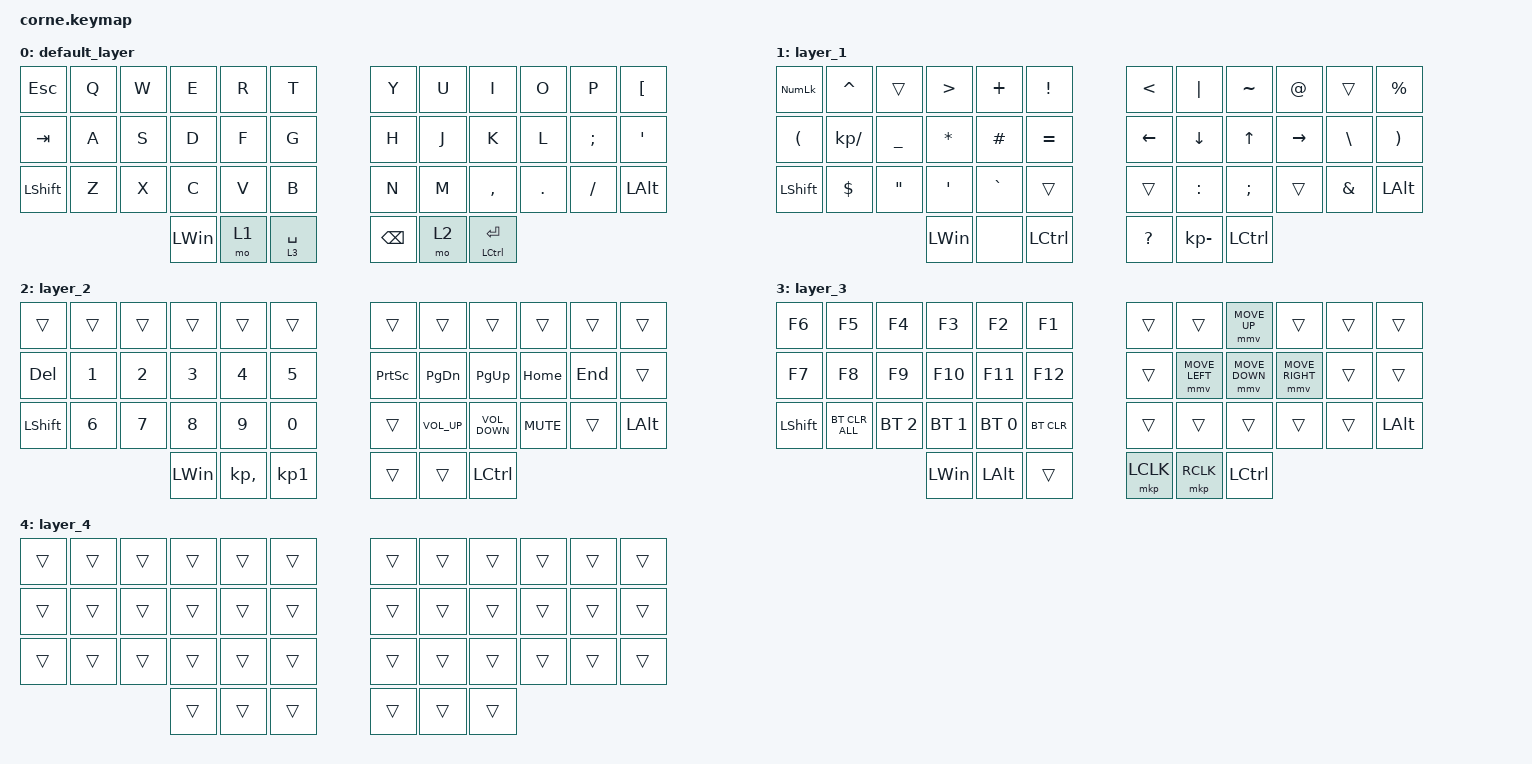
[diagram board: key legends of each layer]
/*
 * Copyright (c) 2020 The ZMK Contributors
 *
 * SPDX-License-Identifier: MIT
 */

#include <behaviors.dtsi>
#include <dt-bindings/zmk/bt.h>
#include <dt-bindings/zmk/keys.h>
#include <dt-bindings/zmk/pointing.h>

/ {
    combos {
        compatible = "zmk,combos";

        brack {
            bindings = <&kp LEFT_BRACKET>;
            key-positions = <15 16>;
        };

        bracker {
            bindings = <&kp RIGHT_BRACKET>;
            key-positions = <19 20>;
        };

        sd {
            bindings = <&kp LEFT_BRACE>;
            key-positions = <14 15>;
        };

        kl {
            bindings = <&kp RIGHT_BRACE>;
            key-positions = <20 21>;
        };
    };

    keymap {
        compatible = "zmk,keymap";

        default_layer {
            // -----------------------------------------------------------------------------------------
            // | TAB  |  Q  |  W  |  E  |  R  |    T    |   |  Y  |  U   |  I  |  O  |  P  | ESC |
            // | CTRL |  A  |  S  |  D  |  F  |    G    |   |  H  |  J   |  K  |  L  |  ;  |  LWR/'   |
            // | SHFT |  Z  |  X  |  C  |  V  |    B    |   |  N  |  M   |  ,  |  .  |  /  | SHFT |
            //                    | GUI | LWR | ALT/ENT |   | HYPER/SPC | BKSP  | RSE |

            bindings = <
&kp ESC    &kp Q  &kp W  &kp E         &kp R  &kp T          &kp Y          &kp U  &kp I            &kp O    &kp P      &kp LEFT_BRACKET
&kp TAB    &kp A  &kp S  &kp D         &kp F  &kp G          &kp H          &kp J  &kp K            &kp L    &kp SEMI   &kp SINGLE_QUOTE
&kp LSHFT  &kp Z  &kp X  &kp C         &kp V  &kp B          &kp N          &kp M  &kp COMMA        &kp DOT  &kp SLASH  &kp LEFT_ALT
                         &kp LEFT_WIN  &mo 1  &lt 3 SPACE    &kp BACKSPACE  &mo 2  &mt LCTRL ENTER
            >;
        };

        layer_1 {
            bindings = <
&kp KP_NUMLOCK        &kp CARET     &trans             &kp GREATER_THAN  &kp PLUS   &kp EXCLAMATION    &kp LESS_THAN   &kp PIPE        &kp TILDE      &kp AT           &trans         &kp PERCENT
&kp LEFT_PARENTHESIS  &kp KP_SLASH  &kp UNDERSCORE     &kp ASTERISK      &kp HASH   &kp EQUAL          &kp LEFT_ARROW  &kp DOWN_ARROW  &kp UP_ARROW   &kp RIGHT_ARROW  &kp BACKSLASH  &kp RIGHT_PARENTHESIS
&kp LEFT_SHIFT        &kp DOLLAR    &kp DOUBLE_QUOTES  &kp APOSTROPHE    &kp GRAVE  &trans             &trans          &kp COLON       &kp SEMICOLON  &trans           &kp AMPERSAND  &kp LEFT_ALT
                                                       &kp LEFT_WIN      &none      &kp LCTRL          &kp QUESTION    &kp KP_MINUS    &kp LCTRL
            >;
        };

        layer_2 {
            bindings = <
&trans          &trans        &trans        &trans        &trans        &trans          &trans           &trans           &trans             &trans      &trans   &trans
&kp DELETE      &kp NUMBER_1  &kp NUMBER_2  &kp NUMBER_3  &kp NUMBER_4  &kp NUMBER_5    &kp PRINTSCREEN  &kp PAGE_DOWN    &kp PAGE_UP        &kp HOME    &kp END  &trans
&kp LEFT_SHIFT  &kp NUMBER_6  &kp NUMBER_7  &kp NUMBER_8  &kp NUMBER_9  &kp NUMBER_0    &trans           &kp C_VOLUME_UP  &kp C_VOLUME_DOWN  &kp K_MUTE  &trans   &kp LEFT_ALT
                                            &kp LEFT_WIN  &kp KP_COMMA  &kp KP_N1       &trans           &trans           &kp LCTRL
            >;
        };

        layer_3 {
            bindings = <
&kp F6          &kp F5          &kp F4        &kp F3        &kp F2        &kp F1        &trans     &trans          &mmv MOVE_UP    &trans           &trans  &trans
&kp F7          &kp F8          &kp F9        &kp F10       &kp F11       &kp F12       &trans     &mmv MOVE_LEFT  &mmv MOVE_DOWN  &mmv MOVE_RIGHT  &trans  &trans
&kp LEFT_SHIFT  &bt BT_CLR_ALL  &bt BT_SEL 2  &bt BT_SEL 1  &bt BT_SEL 0  &bt BT_CLR    &trans     &trans          &trans          &trans           &trans  &kp LEFT_ALT
                                              &kp LEFT_WIN  &kp LEFT_ALT  &trans        &mkp LCLK  &mkp RCLK       &kp LCTRL
            >;
        };

        layer_4 {
            bindings = <
&trans  &trans  &trans  &trans  &trans  &trans    &trans  &trans  &trans  &trans  &trans  &trans
&trans  &trans  &trans  &trans  &trans  &trans    &trans  &trans  &trans  &trans  &trans  &trans
&trans  &trans  &trans  &trans  &trans  &trans    &trans  &trans  &trans  &trans  &trans  &trans
                        &trans  &trans  &trans    &trans  &trans  &trans
            >;
        };
    };

    conditional_layers {
        compatible = "zmk,conditional-layers";

        layerhour {
            if-layers = <1 2>;
            then-layer = <4>;
        };
    };
};
